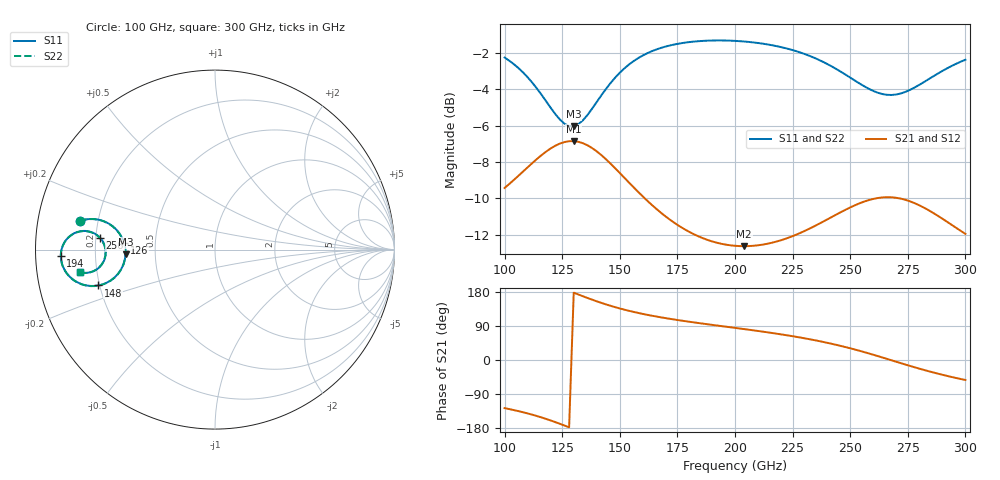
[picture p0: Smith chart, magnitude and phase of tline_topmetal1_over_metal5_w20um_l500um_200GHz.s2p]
#  GHZ S DB R 50
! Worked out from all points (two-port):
!   101 points, 100 GHz to 300 GHz, reference 50 ohm
!   highest |S21| = -6.85 dB at 130 GHz (marker M1); lowest = -12.6 dB at 204 GHz (marker M2)
!   |S21| within 3 dB of the highest: start of sweep to 159.6 GHz
!   lowest |S11| = -6.0 dB at 130 GHz (marker M3), VSWR 2.99, Z = 16.7 - j1.14 ohm
!   |S11| at or under -10 dB: nowhere
!   |S22| runs from -6.0 to -1.3 dB; largest |S21 - S12| = 4.4e-14
!   S11 on the Smith chart (normalised r, x): 100 GHz: 0.13, +0.10; 126 GHz: 0.33, +0.03; 148 GHz: 0.20, -0.14; 194 GHz: 0.08, -0.02; 256 GHz: 0.22, +0.05; 300 GHz: 0.14, -0.08
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100  -2.25 168.1  -9.43 -127.1  -9.43 -127.1  -2.26 168.1
108  -3.07 165.9  -8.53 -137.9  -8.53 -137.9  -3.08 166.0
114  -3.95 165.7  -7.84 -147.8  -7.84 -147.8  -3.96 165.8
120  -5.02 168.5  -7.26 -159.6  -7.26 -159.6  -5.02 168.6
126  -5.89 176.0  -6.90 -173.0  -6.90 -173.0  -5.90 176.1
130  -6.03 -177.1  -6.85 177.6  -6.85 177.6  -6.03 -176.9
134  -5.71 -170.5  -6.97 168.2  -6.97 168.2  -5.70 -170.4
140  -4.70 -164.4  -7.42 154.9  -7.42 154.9  -4.69 -164.3
148  -3.36 -162.9  -8.35 139.4  -8.35 139.4  -3.35 -162.8
158  -2.28 -165.5  -9.65 124.2  -9.65 124.2  -2.28 -165.5
168  -1.72 -169.2  -10.81 112.5  -10.81 112.5  -1.71 -169.1
180  -1.41 -173.3  -11.84 101.1  -11.84 101.1  -1.40 -173.2
194  -1.31 -177.5  -12.50 89.6  -12.50 89.6  -1.31 -177.5
200  -1.34 -179.2  -12.61 84.8  -12.61 84.8  -1.33 -179.1
204  -1.37 179.7  -12.63 81.5  -12.63 81.5  -1.37 179.8
220  -1.68 175.6  -12.30 67.7  -12.30 67.7  -1.68 175.7
234  -2.25 172.7  -11.56 52.9  -11.56 52.9  -2.24 172.8
246  -3.04 171.8  -10.76 37.0  -10.76 37.0  -3.03 171.9
256  -3.83 174.1  -10.18 21.0  -10.18 21.0  -3.81 174.2
268  -4.31 -178.5  -9.94 -0.9  -9.94 -0.9  -4.29 -178.4
284  -3.45 -170.3  -10.65 -29.5  -10.65 -29.5  -3.43 -170.3
300  -2.38 -170.4  -11.96 -52.8  -11.96 -52.8  -2.36 -170.4
